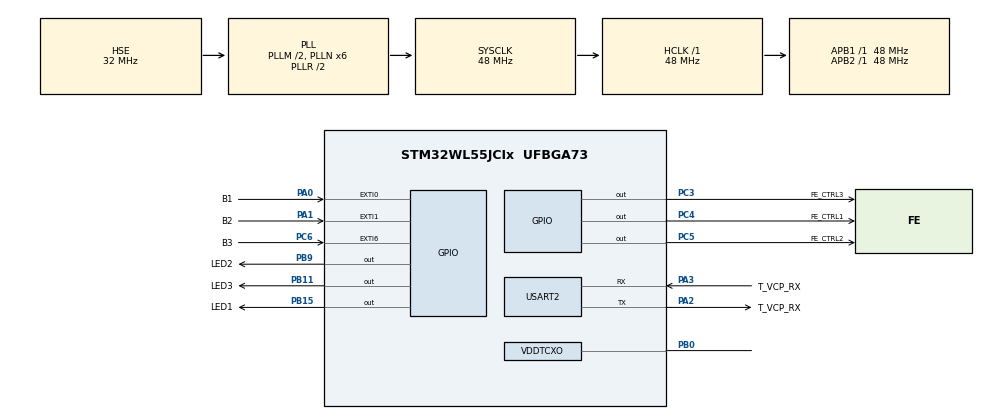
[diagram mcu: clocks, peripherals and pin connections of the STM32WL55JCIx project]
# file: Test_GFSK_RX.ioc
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Mcu.Family=STM32WL
Mcu.Name=STM32WL55JCIx
Mcu.Package=UFBGA73
NVIC.PriorityGroup=NVIC_PRIORITYGROUP_4
NVIC.SUBGHZ_Radio_IRQn=true\:0\:0\:false\:false\:true\:true\:true\:true
NVIC.TIM1_UP_IRQn=true\:0\:0\:false\:false\:true\:true\:true\:true
NVIC.USART2_IRQn=true\:0\:0\:false\:false\:true\:true\:true\:true
OSC_IN.Mode=HSE-TCXO
OSC_IN.Signal=RCC_OSC_IN
PA0.GPIO_Label=B1
PA0.GPIO_ModeDefaultEXTI=GPIO_MODE_IT_FALLING
PA0.GPIO_PuPd=GPIO_PULLUP
PA0.Signal=GPXTI0
PA1.GPIO_Label=B2
PA1.GPIO_ModeDefaultEXTI=GPIO_MODE_IT_FALLING
PA1.GPIO_PuPd=GPIO_PULLUP
PA1.Signal=GPXTI1
PA10.Signal=USART1_RX
PA13.Mode=Serial_Wire
PA13.Signal=DEBUG_JTMS-SWDIO
PA14.Mode=Serial_Wire
PA14.Signal=DEBUG_JTCK-SWCLK
PA2.GPIO_Label=T_VCP_RX
PA2.Mode=Asynchronous
PA2.Signal=USART2_TX
PA3.GPIO_Label=T_VCP_RX
PA3.Mode=Asynchronous
PA3.Signal=USART2_RX
PA9.Signal=USART1_TX
PB0-VDD_TCXO.Mode=HSE-TCXO
PB0-VDD_TCXO.Signal=VDDTCXO
PB11.GPIO_Label=LED3
PB11.GPIO_Speed=GPIO_SPEED_FREQ_HIGH
PB11.Signal=GPIO_Output
PB15.GPIO_Label=LED1
PB15.GPIO_Speed=GPIO_SPEED_FREQ_HIGH
PB15.Signal=GPIO_Output
PB9.GPIO_FM9=__NULL
PB9.GPIO_Label=LED2
PB9.GPIO_Speed=GPIO_SPEED_FREQ_HIGH
PB9.Signal=GPIO_Output
PC14-OSC32_IN.Signal=RCC_OSC32_IN
PC15-OSC32_OUT.Signal=RCC_OSC32_OUT
PC3.GPIO_Label=FE_CTRL3
PC3.GPIO_Speed=GPIO_SPEED_FREQ_VERY_HIGH
PC3.Signal=GPIO_Output
PC4.GPIO_Label=FE_CTRL1
PC4.GPIO_Speed=GPIO_SPEED_FREQ_VERY_HIGH
PC4.Signal=GPIO_Output
PC5.GPIO_Label=FE_CTRL2
PC5.GPIO_Speed=GPIO_SPEED_FREQ_VERY_HIGH
PC5.Signal=GPIO_Output
PC6.GPIO_Label=B3
PC6.GPIO_ModeDefaultEXTI=GPIO_MODE_IT_FALLING
PC6.GPIO_PuPd=GPIO_PULLUP
PC6.Signal=GPXTI6
ProjectManager.HeapSize=0x200
ProjectManager.StackSize=0x400
ProjectManager.TargetToolchain=STM32CubeIDE
RCC.AHBFreq_Value=48000000
RCC.APB1Freq_Value=48000000
RCC.APB1TimFreq_Value=48000000
RCC.APB2Freq_Value=48000000
RCC.APB2TimFreq_Value=48000000
RCC.APB3Freq_Value=48000000
RCC.CortexFreq_Value=48000000
RCC.HCLKFreq_Value=48000000
RCC.HSE_VALUE=32000000
RCC.HSI_VALUE=16000000
RCC.LSE_VALUE=32768
RCC.PLLM=RCC_PLLM_DIV2
RCC.PLLN=6
RCC.PLLSourceVirtual=RCC_PLLSOURCE_HSE
RCC.SYSCLKFreq_VALUE=48000000
RCC.SYSCLKSource=RCC_SYSCLKSOURCE_PLLCLK
RCC.VCOOutputFreq_Value=96000000
TIM1.Period=1000-1
TIM1.Prescaler=48-1
TIM2.Period=1000001-1
TIM2.Prescaler=48
USART2.VirtualMode-Asynchronous=VM_ASYNC
VP_ADV_TRACE_VS_ADV_TRACE.Mode=ADV_TRACE_Enabled
VP_MISC_VS_MISC.Mode=MISC_Enabled
VP_SEQUENCER_M4_VS_SEQUENCER.Mode=SEQUENCER_Enabled
VP_SUBGHZ_PHY_VS_SubGhzPhy.Mode=SubGhzPhy_Enabled
VP_SUBGHZ_VS_SUBGHZ.Mode=SUBGHZ_Activate
VP_TIM1_VS_ClockSourceINT.Mode=Internal
VP_TIM2_VS_ClockSourceINT.Mode=Internal
VP_TIMER_VS_TIMER.Mode=TIMER_Enabled
VP_TINY_LPM_VS_TINY_LPM.Mode=TINY_LPM_Enabled
board=NUCLEO-WL55JC2

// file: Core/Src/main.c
/* USER CODE BEGIN Header */
/**
 ******************************************************************************
 * @file           : main.c
 * @brief          : Main program body
 ******************************************************************************
 * @attention
 *
 * Copyright (c) 2024 STMicroelectronics.
 * All rights reserved.
 *
 * This software is licensed under terms that can be found in the LICENSE file
 * in the root directory of this software component.
 * If no LICENSE file comes with this software, it is provided AS-IS.
 *
 ******************************************************************************
 */
/* USER CODE END Header */
#include "main.h"
#include "app_subghz_phy.h"

/* USER CODE BEGIN Includes */
#include "radio_driver.h"
#include "stdio.h"
#include "stdarg.h"
#include "com_debug.h"
/* USER CODE END Includes */

/* USER CODE BEGIN PTD */
#define PAYLOAD_LENGTH (6)

#define FREQ_401_MHZ            (401375000) //DLink
#define FREQ_402_MHZ			(402375000)	//UPLINK

#define PA_DUTY_CYCLE           (0x02)
#define HP_MAX                  (0x02)
#define PA_SEL                  (0x00)

#define POWER                   (0x0E)
#define RAMP_TIME               (0x06)

#define DEMO_DEFAULT_CR            1
#define DEMO_DEFAULT_DE            0
#define DEMO_DEFAULT_BR            1200
#define DEMO_DEFAULT_BT            2
#define DEMO_DEFAULT_FDEV          12500
#define DEMO_DEFAULT_RISE          2
/* USER CODE END PTD */

/* USER CODE BEGIN PD */
PacketParams_t pkt_params;
ModulationParams_t mod_params;
/* USER CODE END PD */

SUBGHZ_HandleTypeDef hsubghz;

TIM_HandleTypeDef htim1;
TIM_HandleTypeDef htim2;

UART_HandleTypeDef huart2;

/* USER CODE BEGIN PV */
uint8_t rx_cmd[PAYLOAD_LENGTH];
uint8_t tx_cmd[PAYLOAD_LENGTH];
uint8_t p_len = PAYLOAD_LENGTH;
uint8_t ack = 0;
uint8_t rssi_value = 0;
uint8_t pkt_id = 0;
uint8_t DATA_SIZE = 14;
uint16_t crc = 0;
uint8_t TX_FLAG = 0;
uint16_t mSEC = 0;
uint8_t sec = 0;
uint8_t min = 0;
uint8_t hour = 0;
/* USER CODE END PV */

void SystemClock_Config(void);
static void MX_GPIO_Init(void);
static void MX_TIM1_Init(void);
static void MX_TIM2_Init(void);
static void MX_USART2_UART_Init(void);
/* USER CODE BEGIN PFP */
void DioIrqHndlr(RadioIrqMasks_t radioIrq);

/* USER CODE END PFP */

/* USER CODE BEGIN 0 */
void HAL_UART_RxCpltCallback(UART_HandleTypeDef *huart) {
	if (huart == &huart2) {
		TX_FLAG = 1;
	}
}
/* USER CODE END 0 */

int main(void) {

	/* MCU Configuration--------------------------------------------------------*/

	/* Reset of all peripherals, Initializes the Flash interface and the Systick. */
	HAL_Init();

	/* Configure the system clock */
	SystemClock_Config();

	/* Initialize all configured peripherals */
	MX_GPIO_Init();
	MX_TIM1_Init();
	MX_TIM2_Init();
	MX_SubGHz_Phy_Init();
	MX_USART2_UART_Init();
	/* USER CODE BEGIN 2 */

	HAL_TIM_Base_Start(&htim2);

	pkt_params.PacketType = PACKET_TYPE_GFSK;
	pkt_params.Params.Gfsk.PayloadLength = PAYLOAD_LENGTH;
	pkt_params.Params.Gfsk.PreambleLength = 8; /*Convert byte into bit*/
	pkt_params.Params.Gfsk.PreambleMinDetect = RADIO_PREAMBLE_DETECTOR_08_BITS;
	pkt_params.Params.Gfsk.SyncWordLength = 3 << 3; // convert byte into bit
	pkt_params.Params.Gfsk.AddrComp = RADIO_ADDRESSCOMP_FILT_OFF;
	pkt_params.Params.Gfsk.HeaderType = RADIO_PACKET_FIXED_LENGTH;
	pkt_params.Params.Gfsk.CrcLength = RADIO_CRC_2_BYTES_CCIT;
	pkt_params.Params.Gfsk.DcFree = RADIO_DC_FREEWHITENING;

	mod_params.PacketType = PACKET_TYPE_GFSK;
	mod_params.Params.Gfsk.Bandwidth = RX_BW_29300; /*Not used in TX*/
	mod_params.Params.Gfsk.BitRate = DEMO_DEFAULT_BR;
	mod_params.Params.Gfsk.Fdev = DEMO_DEFAULT_FDEV;
	mod_params.Params.Gfsk.ModulationShaping = MOD_SHAPING_G_BT_1;

	SUBGRF_Init(DioIrqHndlr);
	SUBGRF_SetBufferBaseAddress(0x00, 0x00);
	SUBGRF_SetPayload(rx_cmd, PAYLOAD_LENGTH);
	SUBGRF_SetPacketParams(&pkt_params);
	SUBGRF_SetSyncWord(( uint8_t[] ) { 0xC1, 0x94, 0xC1, 0x00, 0x00, 0x00, 0x00,
					0x00 });
	SUBGRF_SetWhiteningSeed(0x01FF);
	SUBGRF_SetRfFrequency(FREQ_402_MHZ);
	SUBGRF_SetPaConfig(PA_DUTY_CYCLE, HP_MAX, PA_SEL, 0x01);
	//SUBGRF_SetTxParams(RFO_HP, POWER, RAMP_TIME);
	SUBGRF_SetTxParams(RFO_LP, POWER, RAMP_TIME);
	SUBGRF_SetModulationParams(&mod_params);
	SUBGRF_SetDioIrqParams(
			IRQ_TX_DONE | IRQ_PREAMBLE_DETECTED | IRQ_RX_DONE
					| IRQ_RX_TX_TIMEOUT | IRQ_SYNCWORD_VALID,
			IRQ_TX_DONE | IRQ_PREAMBLE_DETECTED | IRQ_RX_DONE
					| IRQ_RX_TX_TIMEOUT | IRQ_SYNCWORD_VALID, IRQ_RADIO_NONE,
			IRQ_RADIO_NONE);

	SUBGRF_SetRfFrequency(FREQ_402_MHZ);
	SUBGRF_SetSwitch(RFO_LP, RFSWITCH_RX); /*Set RF switch*/
	SUBGRF_SetRxBoosted(0xFFFFFF);

	HAL_UART_Receive_IT(&huart2, tx_cmd, 6);

	HAL_GPIO_WritePin(GPIOB, LED1_Pin, GPIO_PIN_SET);
	delay_us(1000000);  // 500ms delay
	HAL_GPIO_WritePin(GPIOB, LED1_Pin, GPIO_PIN_RESET);
	delay_us(1000000);
	/* USER CODE END 2 */

	/* Infinite loop */
	/* USER CODE BEGIN WHILE */
	while (1) {
		HAL_GPIO_WritePin(GPIOB, LED1_Pin, GPIO_PIN_RESET);
		delay_us(1000000);
		HAL_GPIO_WritePin(GPIOB, LED1_Pin, GPIO_PIN_SET);
		delay_us(1000000);

		if (TX_FLAG) {
			SUBGRF_SetRfFrequency(FREQ_401_MHZ);
			SUBGRF_SetSwitch(RFO_LP, RFSWITCH_TX); /*Set RF switch*/
			SUBGRF_SendPayload(tx_cmd, 16, 0);
		}

		HAL_UART_Receive_IT(&huart2, tx_cmd, 6);

		/* USER CODE END WHILE */
		MX_SubGHz_Phy_Process();

	}
}

void SystemClock_Config(void) {
	RCC_OscInitTypeDef RCC_OscInitStruct = { 0 };
	RCC_ClkInitTypeDef RCC_ClkInitStruct = { 0 };

	/** Configure the main internal regulator output voltage
	 */
	__HAL_PWR_VOLTAGESCALING_CONFIG(PWR_REGULATOR_VOLTAGE_SCALE1);

	/** Initializes the CPU, AHB and APB buses clocks
	 */
	RCC_OscInitStruct.OscillatorType = RCC_OSCILLATORTYPE_HSE;
	RCC_OscInitStruct.HSEState = RCC_HSE_BYPASS_PWR;
	RCC_OscInitStruct.HSEDiv = RCC_HSE_DIV1;
	RCC_OscInitStruct.PLL.PLLState = RCC_PLL_ON;
	RCC_OscInitStruct.PLL.PLLSource = RCC_PLLSOURCE_HSE;
	RCC_OscInitStruct.PLL.PLLM = RCC_PLLM_DIV2;
	RCC_OscInitStruct.PLL.PLLN = 6;
	RCC_OscInitStruct.PLL.PLLP = RCC_PLLP_DIV2;
	RCC_OscInitStruct.PLL.PLLR = RCC_PLLR_DIV2;
	RCC_OscInitStruct.PLL.PLLQ = RCC_PLLQ_DIV2;
	if (HAL_RCC_OscConfig(&RCC_OscInitStruct) != HAL_OK) {
		Error_Handler();
	}

	/** Configure the SYSCLKSource, HCLK, PCLK1 and PCLK2 clocks dividers
	 */
	RCC_ClkInitStruct.ClockType = RCC_CLOCKTYPE_HCLK3 | RCC_CLOCKTYPE_HCLK
			| RCC_CLOCKTYPE_SYSCLK | RCC_CLOCKTYPE_PCLK1 | RCC_CLOCKTYPE_PCLK2;
	RCC_ClkInitStruct.SYSCLKSource = RCC_SYSCLKSOURCE_PLLCLK;
	RCC_ClkInitStruct.AHBCLKDivider = RCC_SYSCLK_DIV1;
	RCC_ClkInitStruct.APB1CLKDivider = RCC_HCLK_DIV1;
	RCC_ClkInitStruct.APB2CLKDivider = RCC_HCLK_DIV1;
	RCC_ClkInitStruct.AHBCLK3Divider = RCC_SYSCLK_DIV1;

	if (HAL_RCC_ClockConfig(&RCC_ClkInitStruct, FLASH_LATENCY_2) != HAL_OK) {
		Error_Handler();
	}
}

void MX_SUBGHZ_Init(void) {

	hsubghz.Init.BaudratePrescaler = SUBGHZSPI_BAUDRATEPRESCALER_8;
	if (HAL_SUBGHZ_Init(&hsubghz) != HAL_OK) {
		Error_Handler();
	}

}

static void MX_TIM1_Init(void) {

	TIM_ClockConfigTypeDef sClockSourceConfig = { 0 };
	TIM_MasterConfigTypeDef sMasterConfig = { 0 };

	htim1.Instance = TIM1;
	htim1.Init.Prescaler = 48 - 1;
	htim1.Init.CounterMode = TIM_COUNTERMODE_UP;
	htim1.Init.Period = 1000 - 1;
	htim1.Init.ClockDivision = TIM_CLOCKDIVISION_DIV1;
	htim1.Init.RepetitionCounter = 0;
	htim1.Init.AutoReloadPreload = TIM_AUTORELOAD_PRELOAD_DISABLE;
	if (HAL_TIM_Base_Init(&htim1) != HAL_OK) {
		Error_Handler();
	}
	sClockSourceConfig.ClockSource = TIM_CLOCKSOURCE_INTERNAL;
	if (HAL_TIM_ConfigClockSource(&htim1, &sClockSourceConfig) != HAL_OK) {
		Error_Handler();
	}
	sMasterConfig.MasterOutputTrigger = TIM_TRGO_RESET;
	sMasterConfig.MasterOutputTrigger2 = TIM_TRGO2_RESET;
	sMasterConfig.MasterSlaveMode = TIM_MASTERSLAVEMODE_DISABLE;
	if (HAL_TIMEx_MasterConfigSynchronization(&htim1, &sMasterConfig)
			!= HAL_OK) {
		Error_Handler();
	}

}

static void MX_TIM2_Init(void) {

	TIM_ClockConfigTypeDef sClockSourceConfig = { 0 };
	TIM_MasterConfigTypeDef sMasterConfig = { 0 };

	htim2.Instance = TIM2;
	htim2.Init.Prescaler = 48;
	htim2.Init.CounterMode = TIM_COUNTERMODE_UP;
	htim2.Init.Period = 1000001 - 1;
	htim2.Init.ClockDivision = TIM_CLOCKDIVISION_DIV1;
	htim2.Init.AutoReloadPreload = TIM_AUTORELOAD_PRELOAD_DISABLE;
	if (HAL_TIM_Base_Init(&htim2) != HAL_OK) {
		Error_Handler();
	}
	sClockSourceConfig.ClockSource = TIM_CLOCKSOURCE_INTERNAL;
	if (HAL_TIM_ConfigClockSource(&htim2, &sClockSourceConfig) != HAL_OK) {
		Error_Handler();
	}
	sMasterConfig.MasterOutputTrigger = TIM_TRGO_RESET;
	sMasterConfig.MasterSlaveMode = TIM_MASTERSLAVEMODE_DISABLE;
	if (HAL_TIMEx_MasterConfigSynchronization(&htim2, &sMasterConfig)
			!= HAL_OK) {
		Error_Handler();
	}

}

static void MX_USART2_UART_Init(void) {

	huart2.Instance = USART2;
	huart2.Init.BaudRate = 115200;
	huart2.Init.WordLength = UART_WORDLENGTH_8B;
	huart2.Init.StopBits = UART_STOPBITS_1;
	huart2.Init.Parity = UART_PARITY_NONE;
	huart2.Init.Mode = UART_MODE_TX_RX;
	huart2.Init.HwFlowCtl = UART_HWCONTROL_NONE;
	huart2.Init.OverSampling = UART_OVERSAMPLING_16;
	huart2.Init.OneBitSampling = UART_ONE_BIT_SAMPLE_DISABLE;
	huart2.Init.ClockPrescaler = UART_PRESCALER_DIV1;
	huart2.AdvancedInit.AdvFeatureInit = UART_ADVFEATURE_NO_INIT;
	if (HAL_UART_Init(&huart2) != HAL_OK) {
		Error_Handler();
	}
	if (HAL_UARTEx_SetTxFifoThreshold(&huart2, UART_TXFIFO_THRESHOLD_1_8)
			!= HAL_OK) {
		Error_Handler();
	}
	if (HAL_UARTEx_SetRxFifoThreshold(&huart2, UART_RXFIFO_THRESHOLD_1_8)
			!= HAL_OK) {
		Error_Handler();
	}
	if (HAL_UARTEx_DisableFifoMode(&huart2) != HAL_OK) {
		Error_Handler();
	}

}

static void MX_GPIO_Init(void) {
	GPIO_InitTypeDef GPIO_InitStruct = { 0 };

	/* GPIO Ports Clock Enable */
	__HAL_RCC_GPIOA_CLK_ENABLE();
	__HAL_RCC_GPIOB_CLK_ENABLE();
	__HAL_RCC_GPIOC_CLK_ENABLE();

	/*Configure GPIO pin Output Level */
	HAL_GPIO_WritePin(GPIOB, LED1_Pin | LED2_Pin | LED3_Pin, GPIO_PIN_RESET);

	/*Configure GPIO pin Output Level */
	HAL_GPIO_WritePin(GPIOC, FE_CTRL3_Pin | FE_CTRL2_Pin | FE_CTRL1_Pin,
			GPIO_PIN_RESET);

	/*Configure GPIO pins : LED1_Pin LED2_Pin LED3_Pin */
	GPIO_InitStruct.Pin = LED1_Pin | LED2_Pin | LED3_Pin;
	GPIO_InitStruct.Mode = GPIO_MODE_OUTPUT_PP;
	GPIO_InitStruct.Pull = GPIO_NOPULL;
	GPIO_InitStruct.Speed = GPIO_SPEED_FREQ_HIGH;
	HAL_GPIO_Init(GPIOB, &GPIO_InitStruct);

	/*Configure GPIO pins : PA10 PA9 */
	GPIO_InitStruct.Pin = GPIO_PIN_10 | GPIO_PIN_9;
	GPIO_InitStruct.Mode = GPIO_MODE_AF_PP;
	GPIO_InitStruct.Pull = GPIO_NOPULL;
	GPIO_InitStruct.Speed = GPIO_SPEED_FREQ_LOW;
	GPIO_InitStruct.Alternate = GPIO_AF7_USART1;
	HAL_GPIO_Init(GPIOA, &GPIO_InitStruct);

	/*Configure GPIO pins : FE_CTRL3_Pin FE_CTRL2_Pin FE_CTRL1_Pin */
	GPIO_InitStruct.Pin = FE_CTRL3_Pin | FE_CTRL2_Pin | FE_CTRL1_Pin;
	GPIO_InitStruct.Mode = GPIO_MODE_OUTPUT_PP;
	GPIO_InitStruct.Pull = GPIO_NOPULL;
	GPIO_InitStruct.Speed = GPIO_SPEED_FREQ_VERY_HIGH;
	HAL_GPIO_Init(GPIOC, &GPIO_InitStruct);

	/*Configure GPIO pins : B1_Pin B2_Pin */
	GPIO_InitStruct.Pin = B1_Pin | B2_Pin;
	GPIO_InitStruct.Mode = GPIO_MODE_IT_FALLING;
	GPIO_InitStruct.Pull = GPIO_PULLUP;
	HAL_GPIO_Init(GPIOA, &GPIO_InitStruct);

	/*Configure GPIO pin : B3_Pin */
	GPIO_InitStruct.Pin = B3_Pin;
	GPIO_InitStruct.Mode = GPIO_MODE_IT_FALLING;
	GPIO_InitStruct.Pull = GPIO_PULLUP;
	HAL_GPIO_Init(B3_GPIO_Port, &GPIO_InitStruct);

}

/* USER CODE BEGIN 4 */
void DioIrqHndlr(RadioIrqMasks_t radioIrq) {
	if (radioIrq == IRQ_RX_DONE) {
		SUBGRF_GetPayload(rx_cmd, &p_len, PAYLOAD_LENGTH);
		myPrintf("\nGFSK Received\r\n");
		for (int i = 0; i < sizeof(rx_cmd); i++) {
			myPrintf(" %x", rx_cmd[i]);
		}
		myPrintf("\r\n");

	} else if (radioIrq == IRQ_TX_DONE) {
		TX_FLAG = 0;
		myPrintf("\n\r Test Command Transmitted Successful:  \r");
		for (int i = 0; i < sizeof(tx_cmd); i++) {
			myPrintf(" %02x", tx_cmd[i]);
		}
		myPrintf("\n\n");

		SUBGRF_SetRfFrequency(FREQ_402_MHZ);
		SUBGRF_SetSwitch(RFO_LP, RFSWITCH_RX); /*Set RF switch*/
		SUBGRF_SetRxBoosted(0xFFFFFF);

		HAL_GPIO_WritePin(GPIOB, LED1_Pin, GPIO_PIN_SET);
		delay_us(1000000);  // 500ms delay
		HAL_GPIO_WritePin(GPIOB, LED1_Pin, GPIO_PIN_RESET);
		delay_us(1000000);

	}
}
/* USER CODE END 4 */

void Error_Handler(void) {
	__disable_irq();
	while (1) {
	}
}
